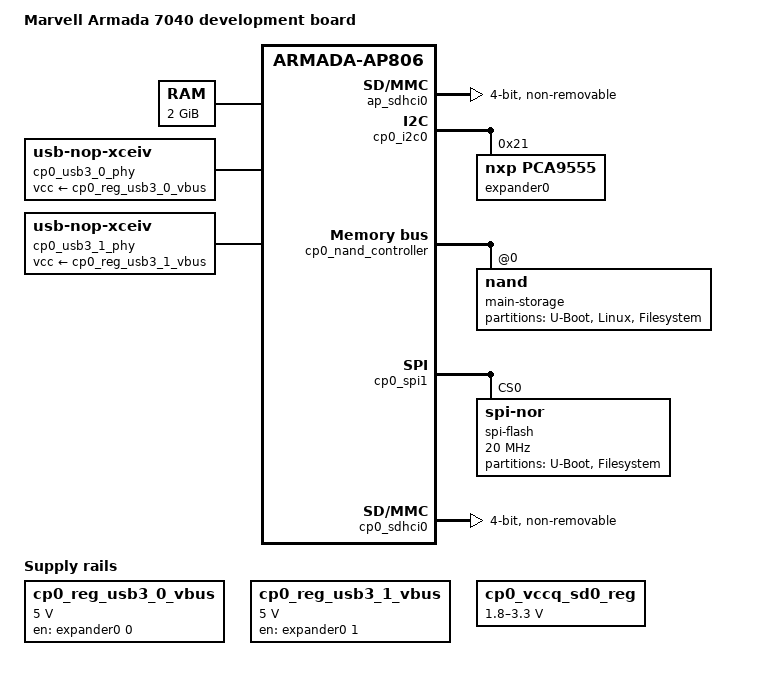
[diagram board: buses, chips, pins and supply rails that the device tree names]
// SPDX-License-Identifier: (GPL-2.0+ OR MIT)
/*
 * Device Tree file for Marvell Armada 7040 development board platform
 */

#include <dt-bindings/gpio/gpio.h>
#include "armada-7040.dtsi"

/ {
	model = "Marvell Armada 7040 development board";
	compatible = "marvell,armada7040-db", "marvell,armada7040",
			"marvell,armada-ap806-quad", "marvell,armada-ap806";

	memory@0 {
		device_type = "memory";
		reg = <0x0 0x0 0x0 0x80000000>;
	};

	cp0_reg_usb3_0_vbus: cp0-usb3-0-vbus {
		compatible = "regulator-fixed";
		regulator-name = "usb3h0-vbus";
		regulator-min-microvolt = <5000000>;
		regulator-max-microvolt = <5000000>;
		enable-active-high;
		gpio = <&expander0 0 GPIO_ACTIVE_HIGH>;
	};

	cp0_reg_usb3_1_vbus: cp0-usb3-1-vbus {
		compatible = "regulator-fixed";
		regulator-name = "usb3h1-vbus";
		regulator-min-microvolt = <5000000>;
		regulator-max-microvolt = <5000000>;
		enable-active-high;
		gpio = <&expander0 1 GPIO_ACTIVE_HIGH>;
	};

	cp0_vccq_sd0_reg: cp0_vccq_sd0 {
		compatible = "regulator-gpio";
		regulator-name = "cp0-vccq-sd0";
		regulator-min-microvolt = <1800000>;
		regulator-max-microvolt = <3300000>;
		regulator-boot-on;
		gpios = <&expander0 15 GPIO_ACTIVE_HIGH>;
		gpios-states = <0>;
		states = <1800000 0x1
			  3300000 0x0>;
		enable-active-high;
	};

	cp0_usb3_0_phy: cp0-usb3-0-phy {
		compatible = "usb-nop-xceiv";
		vcc-supply = <&cp0_reg_usb3_0_vbus>;
	};

	cp0_usb3_1_phy: cp0-usb3-1-phy {
		compatible = "usb-nop-xceiv";
		vcc-supply = <&cp0_reg_usb3_1_vbus>;
	};
};

&uart0 {
	pinctrl-0 = <&uart0_pins>;
	pinctrl-names = "default";
};

&ap_sdhci0 {
	bus-width = <4>;
	no-1-8-v;
	non-removable;
};

&cp0_config_space {
	ranges = /* internal regs */
		 <0x0 0x0 0xf2000000 0x2000000>,
		 /* SPI1-DEV0 */
		 <0x2000000 0 0xf9000000 0x1000000>;
};

&cp0_i2c0 {
	expander0: pca9555@21 {
		compatible = "nxp,pca9555";
		pinctrl-names = "default";
		gpio-controller;
		#gpio-cells = <2>;
		reg = <0x21>;
	};
};

&cp0_nand_controller {
	pinctrl-names = "default";
	pinctrl-0 = <&nand_pins &nand_rb>;

	nand@0 {
		reg = <0>;
		label = "main-storage";
		nand-rb = <0>;
		nand-ecc-mode = "hw";
		nand-on-flash-bbt;
		nand-ecc-strength = <8>;
		nand-ecc-step-size = <512>;

		partitions {
			compatible = "fixed-partitions";
			#address-cells = <1>;
			#size-cells = <1>;

			partition@0 {
				label = "U-Boot";
				reg = <0 0x200000>;
			};
			partition@200000 {
				label = "Linux";
				reg = <0x200000 0xd00000>;
			};
			partition@1000000 {
				label = "Filesystem";
				reg = <0x1000000 0x3f000000>;
			};
		};
	};
};

&cp0_spi1 {
	reg = <0x700680 0x50>,          /* control */
	      <0x2000000 0x1000000>;    /* CS0 */
	spi-flash@0 {
		#address-cells = <0x1>;
		#size-cells = <0x1>;
		compatible = "jedec,spi-nor";
		reg = <0x0>;
		spi-max-frequency = <20000000>;

		partitions {
			compatible = "fixed-partitions";
			#address-cells = <1>;
			#size-cells = <1>;

			partition@0 {
				label = "U-Boot";
				reg = <0x0 0x400000>;
			};

			partition@400000 {
				label = "Filesystem";
				reg = <0x400000 0xc00000>;
			};
		};
	};
};

&cp0_sdhci0 {
	pinctrl-names = "default";
	pinctrl-0 = <&sdhci_pins>;
	bus-width = <4>;
	vqmmc-supply = <&cp0_vccq_sd0_reg>;
	non-removable;
};

&cp0_usb3_0 {
	usb-phy = <&cp0_usb3_0_phy>;
	status = "disabled";
	/* Generic PHY, providing serdes lanes */
	phys = <&cp0_comphy1 0>;
	phy-names = "usb";
};

&cp0_usb3_1 {
	usb-phy = <&cp0_usb3_1_phy>;
	status = "disabled";
	/* Generic PHY, providing serdes lanes */
	phys = <&cp0_comphy4 1>;
	phy-names = "usb";
};
